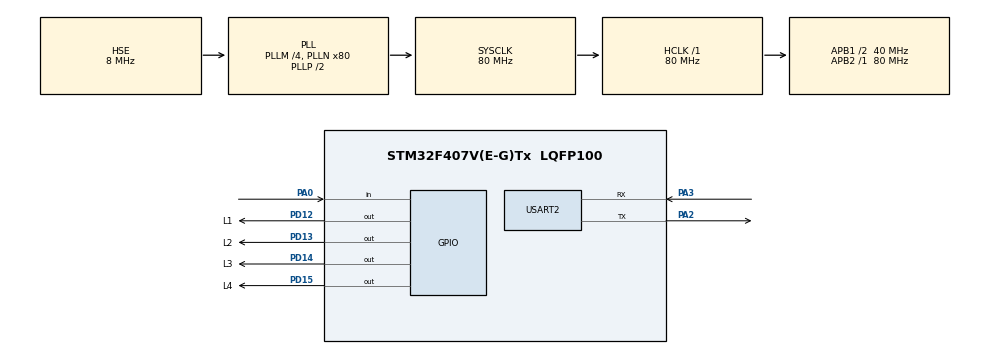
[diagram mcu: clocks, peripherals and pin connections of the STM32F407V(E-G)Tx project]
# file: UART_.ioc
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Dma.Request0=USART2_RX
Dma.USART2_RX.0.Direction=DMA_PERIPH_TO_MEMORY
Dma.USART2_RX.0.FIFOMode=DMA_FIFOMODE_DISABLE
Dma.USART2_RX.0.Instance=DMA1_Stream5
Dma.USART2_RX.0.MemDataAlignment=DMA_MDATAALIGN_BYTE
Dma.USART2_RX.0.MemInc=DMA_MINC_ENABLE
Dma.USART2_RX.0.Mode=DMA_NORMAL
Dma.USART2_RX.0.PeriphDataAlignment=DMA_PDATAALIGN_BYTE
Dma.USART2_RX.0.PeriphInc=DMA_PINC_DISABLE
Dma.USART2_RX.0.Priority=DMA_PRIORITY_LOW
Mcu.Family=STM32F4
Mcu.Name=STM32F407V(E-G)Tx
Mcu.Package=LQFP100
NVIC.DMA1_Stream5_IRQn=true\:0\:0\:false\:false\:true\:false\:true
NVIC.PriorityGroup=NVIC_PRIORITYGROUP_4
PA0-WKUP.Signal=GPIO_Input
PA13.Mode=Serial_Wire
PA13.Signal=SYS_JTMS-SWDIO
PA14.Mode=Serial_Wire
PA14.Signal=SYS_JTCK-SWCLK
PA2.Mode=Asynchronous
PA2.Signal=USART2_TX
PA3.Mode=Asynchronous
PA3.Signal=USART2_RX
PD12.GPIO_Label=L1
PD12.Signal=GPIO_Output
PD13.GPIO_Label=L2
PD13.Signal=GPIO_Output
PD14.GPIO_Label=L3
PD14.Signal=GPIO_Output
PD15.GPIO_Label=L4
PD15.Signal=GPIO_Output
PH0-OSC_IN.Mode=HSE-External-Oscillator
PH0-OSC_IN.Signal=RCC_OSC_IN
PH1-OSC_OUT.Mode=HSE-External-Oscillator
PH1-OSC_OUT.Signal=RCC_OSC_OUT
ProjectManager.HeapSize=0x200
ProjectManager.StackSize=0x400
ProjectManager.TargetToolchain=MDK-ARM V5.27
RCC.48MHZClocksFreq_Value=40000000
RCC.AHBFreq_Value=80000000
RCC.APB1CLKDivider=RCC_HCLK_DIV2
RCC.APB1Freq_Value=40000000
RCC.APB1TimFreq_Value=80000000
RCC.APB2Freq_Value=80000000
RCC.APB2TimFreq_Value=80000000
RCC.CortexFreq_Value=80000000
RCC.HCLKFreq_Value=80000000
RCC.HSE_VALUE=8000000
RCC.HSI_VALUE=16000000
RCC.LSE_VALUE=32768
RCC.PLLM=4
RCC.PLLN=80
RCC.PLLSourceVirtual=RCC_PLLSOURCE_HSE
RCC.SYSCLKFreq_VALUE=80000000
RCC.SYSCLKSource=RCC_SYSCLKSOURCE_PLLCLK
RCC.VCOOutputFreq_Value=160000000
USART2.VirtualMode=VM_ASYNC
board=custom

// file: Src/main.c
/* USER CODE BEGIN Header */
/**
  ******************************************************************************
  * @file           : main.c
  * @brief          : Main program body
  ******************************************************************************
  * @attention
  *
  * <h2><center>&copy; Copyright (c) 2020 STMicroelectronics.
  * All rights reserved.</center></h2>
  *
  * This software component is licensed by ST under BSD 3-Clause license,
  * the "License"; You may not use this file except in compliance with the
  * License. You may obtain a copy of the License at:
  *                        opensource.org/licenses/BSD-3-Clause
  *
  ******************************************************************************
  */
/* USER CODE END Header */

#include "main.h"

/* USER CODE BEGIN Includes */
#include "stdio.h"
#include "inttypes.h"
#include "string.h"
/* USER CODE END Includes */

UART_HandleTypeDef huart2;
DMA_HandleTypeDef hdma_usart2_rx;

void SystemClock_Config(void);
static void MX_GPIO_Init(void);
static void MX_DMA_Init(void);
static void MX_USART2_UART_Init(void);

/* USER CODE BEGIN 0 */
char rxMSG[30]={'\0'};
/* USER CODE END 0 */

int main(void)
{

  /* MCU Configuration--------------------------------------------------------*/

  /* Reset of all peripherals, Initializes the Flash interface and the Systick. */
  HAL_Init();

  /* Configure the system clock */
  SystemClock_Config();

  /* Initialize all configured peripherals */
  MX_GPIO_Init();
  MX_DMA_Init();
  MX_USART2_UART_Init();
  /* USER CODE BEGIN 2 */

	uint8_t X = 0;
	uint8_t count = 0;
	char countCH[30];
	char txMSG[30] ="Geldi...!";
	char codes[5]="KodEn";
	char codes2[5]="KodDs";
	char code1[4]="Loop";
	char code2[4]="Leds";
	char code3[4]="Echo";
	char Start[30]="\r\n\tMuhabbetBasladi";
	char En[30]="\r\nKod girisi yapiniz.";
	char Ds[30]="\r\nKod girisi bitmistir.";

	HAL_UART_Receive_DMA(&huart2, (uint8_t *)rxMSG, 10);
//	HAL_UART_Transmit(&huart2, (uint8_t *) Start, sizeof(Start), 100);
  /* USER CODE END 2 */

  /* Infinite loop */
  while (1)
  {

    /* USER CODE BEGIN 3 */

/*
		sprintf(txMSG, "MarabaMeraba, X= %u \r\n ",X);	//XXX
		HAL_Delay(500);																	//XXX
		X++;																						//XXX
*/

		if(HAL_GPIO_ReadPin(GPIOA, GPIO_PIN_0)){
			while(!HAL_GPIO_ReadPin(GPIOA, GPIO_PIN_0));
			count++;
			sprintf(countCH, "count= %u \r\n ",count);
			HAL_UART_Transmit(&huart2,  (uint8_t *) countCH, sizeof(countCH), 10);
		}

		/*else if(strncmp(rxMSG, codes, 5) == 0 ){
		//	HAL_GPIO_WritePin(GPIOD, L1_Pin | L2_Pin | L3_Pin | L4_Pin, GPIO_PIN_SET );
			HAL_Delay(500);
			HAL_UART_Transmit(&huart2, (uint8_t *) En, sizeof(En), 100);
			continue;
			if(strncmp(rxMSG, code1, 4) == 0){

				HAL_GPIO_WritePin(GPIOD, L1_Pin, GPIO_PIN_SET);
				HAL_GPIO_WritePin(GPIOD, L4_Pin, GPIO_PIN_RESET);
				HAL_Delay(500);
				HAL_GPIO_WritePin(GPIOD, L2_Pin, GPIO_PIN_SET);
				HAL_GPIO_WritePin(GPIOD, L1_Pin, GPIO_PIN_RESET);
				HAL_Delay(500);
				HAL_GPIO_WritePin(GPIOD, L3_Pin, GPIO_PIN_SET);
				HAL_GPIO_WritePin(GPIOD, L2_Pin, GPIO_PIN_RESET);
				HAL_Delay(500);
				HAL_GPIO_WritePin(GPIOD, L4_Pin, GPIO_PIN_SET);
				HAL_GPIO_WritePin(GPIOD, L3_Pin, GPIO_PIN_RESET);
				HAL_Delay(500);
			}
			else{
				break;
			}

		}
		else if(strncmp(rxMSG, codes2, 5) == 0 ){
			HAL_GPIO_WritePin(GPIOD, L1_Pin | L2_Pin | L3_Pin | L4_Pin, GPIO_PIN_RESET );
			HAL_UART_Transmit(&huart2, (uint8_t *) Ds, sizeof(Ds), 100);
			continue;
		}*/

  }
  /* USER CODE END 3 */
}

void SystemClock_Config(void)
{
  RCC_OscInitTypeDef RCC_OscInitStruct = {0};
  RCC_ClkInitTypeDef RCC_ClkInitStruct = {0};

  /** Configure the main internal regulator output voltage
  */
  __HAL_RCC_PWR_CLK_ENABLE();
  __HAL_PWR_VOLTAGESCALING_CONFIG(PWR_REGULATOR_VOLTAGE_SCALE1);
  /** Initializes the CPU, AHB and APB busses clocks
  */
  RCC_OscInitStruct.OscillatorType = RCC_OSCILLATORTYPE_HSE;
  RCC_OscInitStruct.HSEState = RCC_HSE_ON;
  RCC_OscInitStruct.PLL.PLLState = RCC_PLL_ON;
  RCC_OscInitStruct.PLL.PLLSource = RCC_PLLSOURCE_HSE;
  RCC_OscInitStruct.PLL.PLLM = 4;
  RCC_OscInitStruct.PLL.PLLN = 80;
  RCC_OscInitStruct.PLL.PLLP = RCC_PLLP_DIV2;
  RCC_OscInitStruct.PLL.PLLQ = 4;
  if (HAL_RCC_OscConfig(&RCC_OscInitStruct) != HAL_OK)
  {
    Error_Handler();
  }
  /** Initializes the CPU, AHB and APB busses clocks
  */
  RCC_ClkInitStruct.ClockType = RCC_CLOCKTYPE_HCLK|RCC_CLOCKTYPE_SYSCLK
                              |RCC_CLOCKTYPE_PCLK1|RCC_CLOCKTYPE_PCLK2;
  RCC_ClkInitStruct.SYSCLKSource = RCC_SYSCLKSOURCE_PLLCLK;
  RCC_ClkInitStruct.AHBCLKDivider = RCC_SYSCLK_DIV1;
  RCC_ClkInitStruct.APB1CLKDivider = RCC_HCLK_DIV2;
  RCC_ClkInitStruct.APB2CLKDivider = RCC_HCLK_DIV1;

  if (HAL_RCC_ClockConfig(&RCC_ClkInitStruct, FLASH_LATENCY_2) != HAL_OK)
  {
    Error_Handler();
  }
}

static void MX_USART2_UART_Init(void)
{

  huart2.Instance = USART2;
  huart2.Init.BaudRate = 115200;
  huart2.Init.WordLength = UART_WORDLENGTH_8B;
  huart2.Init.StopBits = UART_STOPBITS_1;
  huart2.Init.Parity = UART_PARITY_NONE;
  huart2.Init.Mode = UART_MODE_TX_RX;
  huart2.Init.HwFlowCtl = UART_HWCONTROL_NONE;
  huart2.Init.OverSampling = UART_OVERSAMPLING_16;
  if (HAL_UART_Init(&huart2) != HAL_OK)
  {
    Error_Handler();
  }

}

static void MX_DMA_Init(void)
{

  /* DMA controller clock enable */
  __HAL_RCC_DMA1_CLK_ENABLE();

  /* DMA interrupt init */
  /* DMA1_Stream5_IRQn interrupt configuration */
  HAL_NVIC_SetPriority(DMA1_Stream5_IRQn, 0, 0);
  HAL_NVIC_EnableIRQ(DMA1_Stream5_IRQn);

}

static void MX_GPIO_Init(void)
{
  GPIO_InitTypeDef GPIO_InitStruct = {0};

  /* GPIO Ports Clock Enable */
  __HAL_RCC_GPIOH_CLK_ENABLE();
  __HAL_RCC_GPIOA_CLK_ENABLE();
  __HAL_RCC_GPIOD_CLK_ENABLE();

  /*Configure GPIO pin Output Level */
  HAL_GPIO_WritePin(GPIOD, L1_Pin|L2_Pin|L3_Pin|L4_Pin, GPIO_PIN_RESET);

  /*Configure GPIO pin : PA0 */
  GPIO_InitStruct.Pin = GPIO_PIN_0;
  GPIO_InitStruct.Mode = GPIO_MODE_INPUT;
  GPIO_InitStruct.Pull = GPIO_NOPULL;
  HAL_GPIO_Init(GPIOA, &GPIO_InitStruct);

  /*Configure GPIO pins : L1_Pin L2_Pin L3_Pin L4_Pin */
  GPIO_InitStruct.Pin = L1_Pin|L2_Pin|L3_Pin|L4_Pin;
  GPIO_InitStruct.Mode = GPIO_MODE_OUTPUT_PP;
  GPIO_InitStruct.Pull = GPIO_NOPULL;
  GPIO_InitStruct.Speed = GPIO_SPEED_FREQ_LOW;
  HAL_GPIO_Init(GPIOD, &GPIO_InitStruct);

}

/* USER CODE BEGIN 4 */
void HAL_UART_RxCpltCallback(UART_HandleTypeDef *huart)
{
  /* Prevent unused argument(s) compilation warning */
  UNUSED(huart);
  /* NOTE: This function should not be modified, when the callback is needed,
           the HAL_UART_RxCpltCallback could be implemented in the user file
   */
			HAL_UART_Transmit(&huart2, (uint8_t *)rxMSG, sizeof(rxMSG), 10);
}
/* USER CODE END 4 */

void Error_Handler(void)
{
}

/************************ (C) COPYRIGHT STMicroelectronics *****END OF FILE****/
